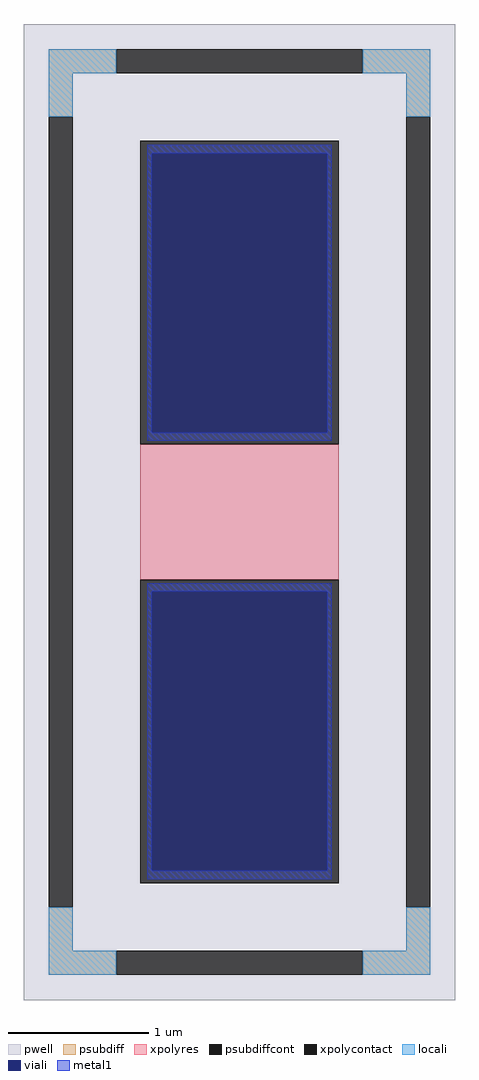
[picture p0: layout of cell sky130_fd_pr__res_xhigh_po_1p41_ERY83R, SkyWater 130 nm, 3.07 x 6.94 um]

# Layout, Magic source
magic
tech sky130A
magscale 1 2
<< pwell >>
rect -307 -694 307 694
<< psubdiff >>
rect -271 624 -175 658
rect 175 624 271 658
rect -271 562 -237 624
rect 237 562 271 624
rect -271 -624 -237 -562
rect 237 -624 271 -562
rect -271 -658 -175 -624
rect 175 -658 271 -624
<< psubdiffcont >>
rect -175 624 175 658
rect -271 -562 -237 562
rect 237 -562 271 562
rect -175 -658 175 -624
<< xpolycontact >>
rect -141 96 141 528
rect -141 -528 141 -96
<< xpolyres >>
rect -141 -96 141 96
<< locali >>
rect -271 624 -175 658
rect 175 624 271 658
rect -271 562 -237 624
rect 237 562 271 624
rect -271 -624 -237 -562
rect 237 -624 271 -562
rect -271 -658 -175 -624
rect 175 -658 271 -624
<< viali >>
rect -125 113 125 510
rect -125 -510 125 -113
<< metal1 >>
rect -131 510 131 522
rect -131 113 -125 510
rect 125 113 131 510
rect -131 101 131 113
rect -131 -113 131 -101
rect -131 -510 -125 -113
rect 125 -510 131 -113
rect -131 -522 131 -510
<< properties >>
string FIXED_BBOX -254 -641 254 641
string gencell sky130_fd_pr__res_xhigh_po_1p41
string library sky130
string parameters w 1.410 l 1.118 m 1 nx 1 wmin 1.410 lmin 0.50 rho 2000 val 1.852k dummy 0 dw 0.0 term 188.2 sterm 0.0 caplen 0 wmax 1.410 guard 1 glc 1 grc 1 gtc 1 gbc 1 compatible {sky130_fd_pr__res_xhigh_po_0p35  sky130_fd_pr__res_xhigh_po_0p69 sky130_fd_pr__res_xhigh_po_1p41  sky130_fd_pr__res_xhigh_po_2p85 sky130_fd_pr__res_xhigh_po_5p73} snake 0 full_metal 1 n_guard 0 hv_guard 0 vias 1 viagb 0 viagt 0 viagl 0 viagr 0
<< end >>
